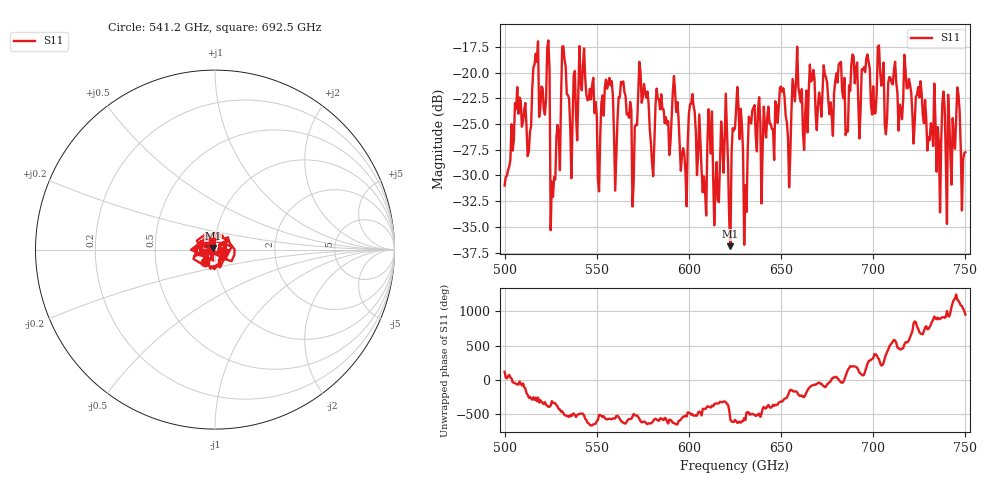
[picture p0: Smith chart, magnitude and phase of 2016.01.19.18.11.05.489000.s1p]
!Created with skrf (http://scikit-rf.org).
# GHz S RI R 50.0
!freq ReS11 ImS11
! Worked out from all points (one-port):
!   401 points, 500 GHz to 750 GHz, reference 50 ohm
!   lowest |S11| = -36.9 dB at 622.5 GHz (marker M1), VSWR 1.03, Z = 48.8 + j0.821 ohm
!   |S11| at or under -10 dB: start of sweep to end of sweep
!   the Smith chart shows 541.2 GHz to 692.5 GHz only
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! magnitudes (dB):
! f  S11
! 500 GHz  -31.0
! 506.9 GHz  -21.4
! 513.1 GHz  -27.7
! 516.9 GHz  -18.2
! 523.1 GHz  -17.6
! 526.2 GHz  -32.1
! 531.2 GHz  -17.5
! 535.6 GHz  -25.5
! 541.9 GHz  -21.7
! 550.6 GHz  -30.4
! 562.5 GHz  -22.4
! 570.6 GHz  -25.3
! 574.4 GHz  -22.9
! 580 GHz  -28.8
! 593.8 GHz  -22.9
! 597.5 GHz  -27.9
! 601.9 GHz  -22.1
! 608.1 GHz  -30.1
! 611.2 GHz  -25.5
! 615 GHz  -28.7
! 622.5 GHz  -36.9
! 625 GHz  -25.4
! 630.6 GHz  -31.0
! 634.4 GHz  -23.7
! 656.2 GHz  -20.6
! 687.5 GHz  -21.8
! 718.8 GHz  -21.5
! 750 GHz  -27.7
